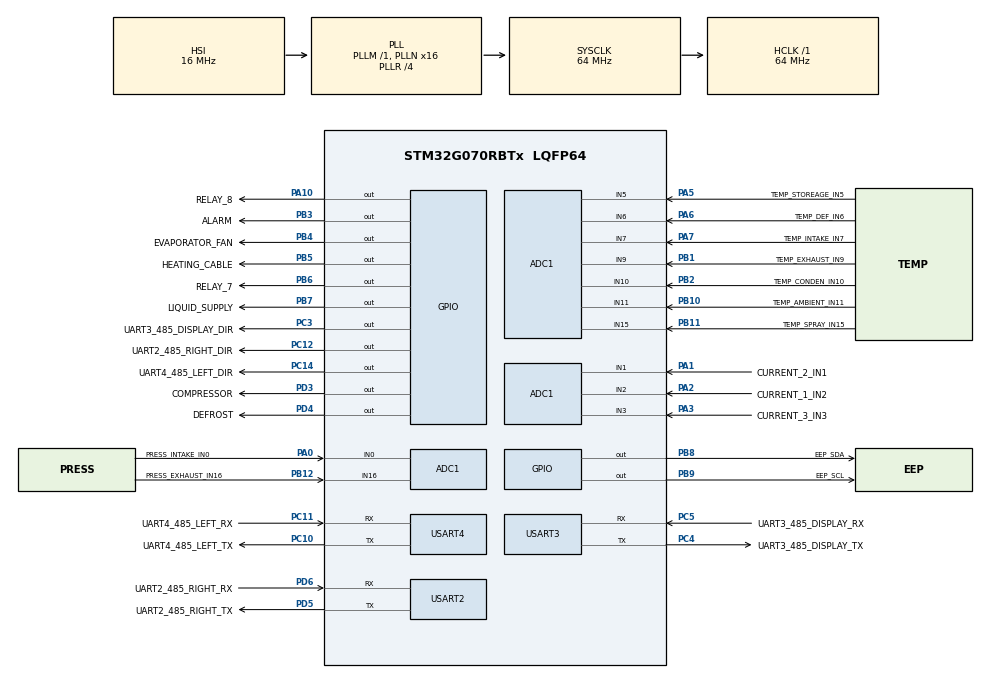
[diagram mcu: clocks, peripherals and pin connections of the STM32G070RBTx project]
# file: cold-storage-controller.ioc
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ADC1.ContinuousConvMode=ENABLE
ADC1.DMAContinuousRequests=ENABLE
ADC1.NbrOfConversion=1
ADC1.NbrOfConversionFlag=0
ADC1.OversamplingMode=DISABLE
ADC1.SamplingTimeCommon1=ADC_SAMPLETIME_160CYCLES_5
ADC1.SelectedChannel=ADC_CHANNEL_0|ADC_CHANNEL_1|ADC_CHANNEL_2|ADC_CHANNEL_3|ADC_CHANNEL_5|ADC_CHANNEL_6|ADC_CHANNEL_7|ADC_CHANNEL_9|ADC_CHANNEL_10|ADC_CHANNEL_11|ADC_CHANNEL_15|ADC_CHANNEL_16
ADC1.Sequencer=NOT_FULLY_CONFIGURABLE
ADC1.master=1
Dma.ADC1.0.Direction=DMA_PERIPH_TO_MEMORY
Dma.ADC1.0.EventEnable=DISABLE
Dma.ADC1.0.Instance=DMA1_Channel1
Dma.ADC1.0.MemDataAlignment=DMA_MDATAALIGN_HALFWORD
Dma.ADC1.0.MemInc=DMA_MINC_ENABLE
Dma.ADC1.0.Mode=DMA_CIRCULAR
Dma.ADC1.0.PeriphDataAlignment=DMA_PDATAALIGN_HALFWORD
Dma.ADC1.0.PeriphInc=DMA_PINC_DISABLE
Dma.ADC1.0.Polarity=HAL_DMAMUX_REQ_GEN_RISING
Dma.ADC1.0.Priority=DMA_PRIORITY_LOW
Dma.ADC1.0.RequestNumber=1
Dma.ADC1.0.SignalID=NONE
Dma.ADC1.0.SyncEnable=DISABLE
Dma.ADC1.0.SyncPolarity=HAL_DMAMUX_SYNC_NO_EVENT
Dma.ADC1.0.SyncRequestNumber=1
Dma.ADC1.0.SyncSignalID=NONE
Dma.Request0=ADC1
Dma.Request1=USART2_RX
Dma.Request2=USART4_RX
Dma.Request3=USART3_RX
Dma.USART2_RX.1.Direction=DMA_PERIPH_TO_MEMORY
Dma.USART2_RX.1.EventEnable=DISABLE
Dma.USART2_RX.1.Instance=DMA1_Channel2
Dma.USART2_RX.1.MemDataAlignment=DMA_MDATAALIGN_BYTE
Dma.USART2_RX.1.MemInc=DMA_MINC_ENABLE
Dma.USART2_RX.1.Mode=DMA_NORMAL
Dma.USART2_RX.1.PeriphDataAlignment=DMA_PDATAALIGN_BYTE
Dma.USART2_RX.1.PeriphInc=DMA_PINC_DISABLE
Dma.USART2_RX.1.Polarity=HAL_DMAMUX_REQ_GEN_RISING
Dma.USART2_RX.1.Priority=DMA_PRIORITY_LOW
Dma.USART2_RX.1.RequestNumber=1
Dma.USART2_RX.1.SignalID=NONE
Dma.USART2_RX.1.SyncEnable=DISABLE
Dma.USART2_RX.1.SyncPolarity=HAL_DMAMUX_SYNC_NO_EVENT
Dma.USART2_RX.1.SyncRequestNumber=1
Dma.USART2_RX.1.SyncSignalID=NONE
Dma.USART3_RX.3.Direction=DMA_PERIPH_TO_MEMORY
Dma.USART3_RX.3.EventEnable=DISABLE
Dma.USART3_RX.3.Instance=DMA1_Channel4
Dma.USART3_RX.3.MemDataAlignment=DMA_MDATAALIGN_BYTE
Dma.USART3_RX.3.MemInc=DMA_MINC_ENABLE
Dma.USART3_RX.3.Mode=DMA_NORMAL
Dma.USART3_RX.3.PeriphDataAlignment=DMA_PDATAALIGN_BYTE
Dma.USART3_RX.3.PeriphInc=DMA_PINC_DISABLE
Dma.USART3_RX.3.Polarity=HAL_DMAMUX_REQ_GEN_RISING
Dma.USART3_RX.3.Priority=DMA_PRIORITY_LOW
Dma.USART3_RX.3.RequestNumber=1
Dma.USART3_RX.3.SignalID=NONE
Dma.USART3_RX.3.SyncEnable=DISABLE
Dma.USART3_RX.3.SyncPolarity=HAL_DMAMUX_SYNC_NO_EVENT
Dma.USART3_RX.3.SyncRequestNumber=1
Dma.USART3_RX.3.SyncSignalID=NONE
Dma.USART4_RX.2.Direction=DMA_PERIPH_TO_MEMORY
Dma.USART4_RX.2.EventEnable=DISABLE
Dma.USART4_RX.2.Instance=DMA1_Channel3
Dma.USART4_RX.2.MemDataAlignment=DMA_MDATAALIGN_BYTE
Dma.USART4_RX.2.MemInc=DMA_MINC_ENABLE
Dma.USART4_RX.2.Mode=DMA_NORMAL
Dma.USART4_RX.2.PeriphDataAlignment=DMA_PDATAALIGN_BYTE
Dma.USART4_RX.2.PeriphInc=DMA_PINC_DISABLE
Dma.USART4_RX.2.Polarity=HAL_DMAMUX_REQ_GEN_RISING
Dma.USART4_RX.2.Priority=DMA_PRIORITY_LOW
Dma.USART4_RX.2.RequestNumber=1
Dma.USART4_RX.2.SignalID=NONE
Dma.USART4_RX.2.SyncEnable=DISABLE
Dma.USART4_RX.2.SyncPolarity=HAL_DMAMUX_SYNC_NO_EVENT
Dma.USART4_RX.2.SyncRequestNumber=1
Dma.USART4_RX.2.SyncSignalID=NONE
IWDG.Prescaler=IWDG_PRESCALER_16
Mcu.Family=STM32G0
Mcu.Name=STM32G070RBTx
Mcu.Package=LQFP64
NVIC.ADC1_IRQn=true\:0\:0\:false\:false\:true\:true\:true\:true
NVIC.DMA1_Ch4_7_DMAMUX1_OVR_IRQn=true\:0\:0\:false\:false\:true\:false\:true\:true
NVIC.DMA1_Channel1_IRQn=true\:0\:0\:false\:false\:true\:false\:true\:true
NVIC.DMA1_Channel2_3_IRQn=true\:0\:0\:false\:false\:true\:false\:true\:true
NVIC.TIM6_IRQn=true\:0\:0\:false\:false\:true\:true\:true\:true
NVIC.USART2_IRQn=true\:0\:0\:false\:false\:true\:true\:true\:true
NVIC.USART3_4_IRQn=true\:0\:0\:false\:false\:true\:true\:true\:true
PA0.GPIO_Label=PRESS_INTAKE_IN0
PA0.Mode=IN0
PA0.Signal=ADC1_IN0
PA1.GPIO_Label=CURRENT_2_IN1
PA1.Mode=IN1
PA1.Signal=ADC1_IN1
PA10.GPIO_Label=RELAY_8
PA10.Signal=GPIO_Output
PA13.Mode=Serial_Wire
PA13.Signal=SYS_SWDIO
PA14-BOOT0.Mode=Serial_Wire
PA14-BOOT0.Signal=SYS_SWCLK
PA2.GPIO_Label=CURRENT_1_IN2
PA2.Mode=IN2
PA2.Signal=ADC1_IN2
PA3.GPIO_Label=CURRENT_3_IN3
PA3.Mode=IN3
PA3.Signal=ADC1_IN3
PA5.GPIO_Label=TEMP_STOREAGE_IN5
PA5.Mode=IN5
PA5.Signal=ADC1_IN5
PA6.GPIO_Label=TEMP_DEF_IN6
PA6.Mode=IN6
PA6.Signal=ADC1_IN6
PA7.GPIO_Label=TEMP_INTAKE_IN7
PA7.Mode=IN7
PA7.Signal=ADC1_IN7
PB1.GPIO_Label=TEMP_EXHAUST_IN9
PB1.Mode=IN9
PB1.Signal=ADC1_IN9
PB10.GPIO_Label=TEMP_AMBIENT_IN11
PB10.Mode=IN11
PB10.Signal=ADC1_IN11
PB11.GPIO_Label=TEMP_SPRAY_IN15
PB11.Mode=IN15
PB11.Signal=ADC1_IN15
PB12.GPIO_Label=PRESS_EXHAUST_IN16
PB12.Mode=IN16
PB12.Signal=ADC1_IN16
PB2.GPIO_Label=TEMP_CONDEN_IN10
PB2.Mode=IN10
PB2.Signal=ADC1_IN10
PB3.GPIO_Label=ALARM
PB3.Signal=GPIO_Output
PB4.GPIO_Label=EVAPORATOR_FAN
PB4.Signal=GPIO_Output
PB5.GPIO_Label=HEATING_CABLE
PB5.Signal=GPIO_Output
PB6.GPIO_Label=RELAY_7
PB6.Signal=GPIO_Output
PB7.GPIO_Label=LIQUID_SUPPLY
PB7.Signal=GPIO_Output
PB8.GPIO_Label=EEP_SDA
PB8.GPIO_ModeDefaultOutputPP=GPIO_MODE_OUTPUT_OD
PB8.GPIO_PuPd=GPIO_NOPULL
PB8.Signal=GPIO_Output
PB9.GPIO_Label=EEP_SCL
PB9.GPIO_ModeDefaultOutputPP=GPIO_MODE_OUTPUT_OD
PB9.GPIO_PuPd=GPIO_NOPULL
PB9.Signal=GPIO_Output
PC10.GPIO_Label=UART4_485_LEFT_TX
PC10.Mode=Asynchronous
PC10.Signal=USART4_TX
PC11.GPIO_Label=UART4_485_LEFT_RX
PC11.Mode=Asynchronous
PC11.Signal=USART4_RX
PC12.GPIO_Label=UART2_485_RIGHT_DIR
PC12.Signal=GPIO_Output
PC14-OSC32_IN\ (PC14).GPIO_Label=UART4_485_LEFT_DIR
PC14-OSC32_IN\ (PC14).Signal=GPIO_Output
PC3.GPIO_Label=UART3_485_DISPLAY_DIR
PC3.Signal=GPIO_Output
PC4.GPIO_Label=UART3_485_DISPLAY_TX
PC4.Mode=Asynchronous
PC4.Signal=USART3_TX
PC5.GPIO_Label=UART3_485_DISPLAY_RX
PC5.Mode=Asynchronous
PC5.Signal=USART3_RX
PD3.GPIO_Label=COMPRESSOR
PD3.Signal=GPIO_Output
PD4.GPIO_Label=DEFROST
PD4.Signal=GPIO_Output
PD5.GPIO_Label=UART2_485_RIGHT_TX
PD5.Mode=Asynchronous
PD5.Signal=USART2_TX
PD6.GPIO_Label=UART2_485_RIGHT_RX
PD6.Mode=Asynchronous
PD6.Signal=USART2_RX
PF0-OSC_IN\ (PF0).Mode=HSE-External-Oscillator
PF0-OSC_IN\ (PF0).Signal=RCC_OSC_IN
PF1-OSC_OUT\ (PF1).Mode=HSE-External-Oscillator
PF1-OSC_OUT\ (PF1).Signal=RCC_OSC_OUT
ProjectManager.HeapSize=0x200
ProjectManager.StackSize=0x400
ProjectManager.TargetToolchain=CMake
RCC.ADCFreq_Value=64000000
RCC.AHBFreq_Value=64000000
RCC.CortexFreq_Value=64000000
RCC.EXTERNAL_CLOCK_VALUE=48000
RCC.HCLKFreq_Value=64000000
RCC.HSE_VALUE=8000000
RCC.HSI_VALUE=16000000
RCC.LSE_VALUE=32768
RCC.PLLN=16
RCC.PLLR=RCC_PLLR_DIV4
RCC.SYSCLKFreq_VALUE=64000000
RCC.SYSCLKSource=RCC_SYSCLKSOURCE_PLLCLK
RCC.VCOOutputFreq_Value=256000000
TIM6.Prescaler=63
USART2.VirtualMode-Asynchronous=VM_ASYNC
USART3.VirtualMode-Asynchronous=VM_ASYNC
USART4.VirtualMode-Asynchronous=VM_ASYNC
VP_IWDG_VS_IWDG.Mode=IWDG_Activate
VP_SYS_VS_DBSignals.Mode=DisableDeadBatterySignals
VP_TIM6_VS_ClockSourceINT.Mode=Enable_Timer
board=custom

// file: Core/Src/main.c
/* USER CODE BEGIN Header */
/**
  ******************************************************************************
  * @file           : main.c
  * @brief          : Main program body
  ******************************************************************************
  * @attention
  *
  * Copyright (c) 2026 STMicroelectronics.
  * All rights reserved.
  *
  * This software is licensed under terms that can be found in the LICENSE file
  * in the root directory of this software component.
  * If no LICENSE file comes with this software, it is provided AS-IS.
  *
  ******************************************************************************
  */
/* USER CODE END Header */
#include "main.h"
#include "adc.h"
#include "dma.h"
#include "iwdg.h"
#include "tim.h"
#include "usart.h"
#include "gpio.h"

/* USER CODE BEGIN Includes */
#include "FreeRTOS.h"
#include "task.h"
#include "relay.h"
#include "adc_app.h"
#include "uart_app.h"
#include "log.h"
#include "eep.h"
#include "timer.h"
/* USER CODE END Includes */

/* USER CODE BEGIN PV */
extern TaskHandle_t uart_recv_tasks_handler_t;

/* USER CODE END PV */

void SystemClock_Config(void);

int main(void)
{

  /* MCU Configuration--------------------------------------------------------*/

  /* Reset of all peripherals, Initializes the Flash interface and the Systick. */
  HAL_Init();

  /* Configure the system clock */
  SystemClock_Config();

  /* Initialize all configured peripherals */
  MX_GPIO_Init();
  MX_DMA_Init();
  MX_ADC1_Init();
  MX_USART2_UART_Init();
  MX_USART3_UART_Init();
  MX_USART4_UART_Init();
  MX_TIM6_Init();
  /* USER CODE BEGIN 2 */
  log_init();
  tim6_init();
  uart_init();
  /* USER CODE END 2 */

  /* Infinite loop */
  /* USER CODE BEGIN WHILE */

  // adc task, deepest stack 252, 312 is safe
  //xTaskCreate(adc_task, "ADC MAIN",312, NULL, 1, &adc_task_handle);

  // eep task
  xTaskCreate(eep_test, "EEP MAIN",256, NULL, 1, NULL);

  //iwdg task, feed 100ms
  xTaskCreate(iwdg_task, "IWDG TASK", 64, NULL, 1, NULL);

  //relay task
  xTaskCreate(relay_main, "RELAY TASK", 64, NULL, 1, NULL);

  //usart receive tasks
  xTaskCreate(uart_recv_tasks, "USART RECEIVE TASKS", 256, NULL, 5, &uart_recv_tasks_handler_t);

  vTaskStartScheduler();
  while (1)
  {
    /* USER CODE END WHILE */

  }
}

void SystemClock_Config(void)
{
  RCC_OscInitTypeDef RCC_OscInitStruct = {0};
  RCC_ClkInitTypeDef RCC_ClkInitStruct = {0};

  /** Configure the main internal regulator output voltage
  */
  HAL_PWREx_ControlVoltageScaling(PWR_REGULATOR_VOLTAGE_SCALE1);

  /** Initializes the RCC Oscillators according to the specified parameters
  * in the RCC_OscInitTypeDef structure.
  */
  RCC_OscInitStruct.OscillatorType = RCC_OSCILLATORTYPE_HSI|RCC_OSCILLATORTYPE_LSI;
  RCC_OscInitStruct.HSIState = RCC_HSI_ON;
  RCC_OscInitStruct.HSIDiv = RCC_HSI_DIV1;
  RCC_OscInitStruct.HSICalibrationValue = RCC_HSICALIBRATION_DEFAULT;
  RCC_OscInitStruct.LSIState = RCC_LSI_ON;
  RCC_OscInitStruct.PLL.PLLState = RCC_PLL_ON;
  RCC_OscInitStruct.PLL.PLLSource = RCC_PLLSOURCE_HSI;
  RCC_OscInitStruct.PLL.PLLM = RCC_PLLM_DIV1;
  RCC_OscInitStruct.PLL.PLLN = 16;
  RCC_OscInitStruct.PLL.PLLP = RCC_PLLP_DIV2;
  RCC_OscInitStruct.PLL.PLLR = RCC_PLLR_DIV4;
  if (HAL_RCC_OscConfig(&RCC_OscInitStruct) != HAL_OK)
  {
    Error_Handler();
  }

  /** Initializes the CPU, AHB and APB buses clocks
  */
  RCC_ClkInitStruct.ClockType = RCC_CLOCKTYPE_HCLK|RCC_CLOCKTYPE_SYSCLK
                              |RCC_CLOCKTYPE_PCLK1;
  RCC_ClkInitStruct.SYSCLKSource = RCC_SYSCLKSOURCE_PLLCLK;
  RCC_ClkInitStruct.AHBCLKDivider = RCC_SYSCLK_DIV1;
  RCC_ClkInitStruct.APB1CLKDivider = RCC_HCLK_DIV1;

  if (HAL_RCC_ClockConfig(&RCC_ClkInitStruct, FLASH_LATENCY_2) != HAL_OK)
  {
    Error_Handler();
  }
}

/* USER CODE BEGIN 4 */

void vApplicationTickHook(void)
{
    HAL_IncTick();
}

void vApplicationStackOverflowHook(TaskHandle_t xTask, char *pcTaskName)
{
    (void)xTask;
    (void)pcTaskName;
    /* stack overflow debug here*/
    while(1);
}

void vApplicationMallocFailedHook(void)
{
    /* heap malloc failed debug here*/
    while(1);
}

/* USER CODE END 4 */

void Error_Handler(void)
{
  __disable_irq();
  while (1)
  {
  }
}
